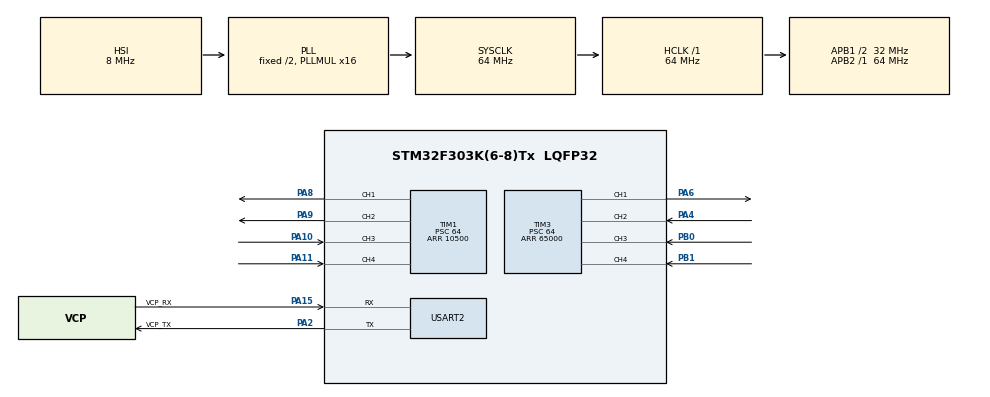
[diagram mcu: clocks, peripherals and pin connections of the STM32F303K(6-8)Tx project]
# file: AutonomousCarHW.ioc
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Dma.Request0=USART2_RX
Dma.Request1=USART2_TX
Dma.USART2_RX.0.Direction=DMA_PERIPH_TO_MEMORY
Dma.USART2_RX.0.Instance=DMA1_Channel6
Dma.USART2_RX.0.MemDataAlignment=DMA_MDATAALIGN_BYTE
Dma.USART2_RX.0.MemInc=DMA_MINC_ENABLE
Dma.USART2_RX.0.Mode=DMA_NORMAL
Dma.USART2_RX.0.PeriphDataAlignment=DMA_PDATAALIGN_BYTE
Dma.USART2_RX.0.PeriphInc=DMA_PINC_DISABLE
Dma.USART2_RX.0.Priority=DMA_PRIORITY_LOW
Dma.USART2_TX.1.Direction=DMA_MEMORY_TO_PERIPH
Dma.USART2_TX.1.Instance=DMA1_Channel7
Dma.USART2_TX.1.MemDataAlignment=DMA_MDATAALIGN_BYTE
Dma.USART2_TX.1.MemInc=DMA_MINC_ENABLE
Dma.USART2_TX.1.Mode=DMA_NORMAL
Dma.USART2_TX.1.PeriphDataAlignment=DMA_PDATAALIGN_BYTE
Dma.USART2_TX.1.PeriphInc=DMA_PINC_DISABLE
Dma.USART2_TX.1.Priority=DMA_PRIORITY_LOW
FREERTOS.BinarySemaphores01=usart2TXAvailable,Static,usart2AvailableControlBlock
FREERTOS.Tasks01=defaultTask,0,512,StartDefaultTask,Default,NULL,Dynamic,NULL,NULL;printingTask,-1,512,printTask,As weak,NULL,Dynamic,NULL,NULL
FREERTOS.configTOTAL_HEAP_SIZE=8192
FREERTOS.configUSE_NEWLIB_REENTRANT=1
Mcu.Family=STM32F3
Mcu.Name=STM32F303K(6-8)Tx
Mcu.Package=LQFP32
NVIC.DMA1_Channel6_IRQn=true\:5\:0\:false\:false\:true\:true\:false\:true\:true
NVIC.DMA1_Channel7_IRQn=true\:5\:0\:false\:false\:true\:true\:false\:true\:true
NVIC.PriorityGroup=NVIC_PRIORITYGROUP_4
NVIC.TIM1_CC_IRQn=true\:5\:0\:false\:false\:true\:true\:true\:true\:true
NVIC.TIM2_IRQn=true\:15\:0\:false\:false\:true\:false\:false\:true\:true
NVIC.TIM3_IRQn=true\:5\:0\:false\:false\:true\:true\:true\:true\:true
NVIC.TimeBase=TIM2_IRQn
NVIC.TimeBaseIP=TIM2
NVIC.USART2_IRQn=true\:5\:0\:false\:false\:true\:true\:true\:true\:true
PA10.Signal=S_TIM1_CH3
PA11.Signal=S_TIM1_CH4
PA13.GPIO_Label=SWDIO
PA13.Mode=Serial_Wire
PA13.Signal=SYS_JTMS-SWDIO
PA14.GPIO_Label=SWCLK
PA14.Mode=Serial_Wire
PA14.Signal=SYS_JTCK-SWCLK
PA15.GPIO_Label=VCP_RX
PA15.Mode=Asynchronous
PA15.Signal=USART2_RX
PA2.GPIO_Label=VCP_TX
PA2.Mode=Asynchronous
PA2.Signal=USART2_TX
PA4.Signal=S_TIM3_CH2
PA6.Signal=S_TIM3_CH1
PA8.Signal=S_TIM1_CH1
PA9.Signal=S_TIM1_CH2
PB0.Signal=S_TIM3_CH3
PB1.Signal=S_TIM3_CH4
PF0\ /\ OSC_IN.GPIO_Label=MCO
PF0\ /\ OSC_IN.Mode=HSE-External-Clock-Source
PF0\ /\ OSC_IN.Signal=RCC_OSC_IN
ProjectManager.HeapSize=0x200
ProjectManager.StackSize=0x400
ProjectManager.TargetToolchain=STM32CubeIDE
RCC.AHBFreq_Value=64000000
RCC.APB1CLKDivider=RCC_HCLK_DIV2
RCC.APB1Freq_Value=32000000
RCC.APB1TimFreq_Value=64000000
RCC.APB2Freq_Value=64000000
RCC.APB2TimFreq_Value=64000000
RCC.CortexFreq_Value=64000000
RCC.HCLKFreq_Value=64000000
RCC.HSE_VALUE=8000000
RCC.HSI_VALUE=8000000
RCC.PLLMUL=RCC_PLL_MUL16
RCC.SYSCLKFreq_VALUE=64000000
RCC.SYSCLKSourceVirtual=RCC_SYSCLKSOURCE_PLLCLK
SH.S_TIM1_CH1.0=TIM1_CH1,PWM Generation1 CH1
SH.S_TIM1_CH2.0=TIM1_CH2,PWM Generation2 CH2
SH.S_TIM1_CH3.0=TIM1_CH3,Input_Capture3_from_TI3
SH.S_TIM1_CH4.0=TIM1_CH4,Input_Capture4_from_TI4
SH.S_TIM3_CH1.0=TIM3_CH1,PWM Generation1 CH1
SH.S_TIM3_CH2.0=TIM3_CH2,Input_Capture2_from_TI2
SH.S_TIM3_CH3.0=TIM3_CH3,Input_Capture3_from_TI3
SH.S_TIM3_CH4.0=TIM3_CH4,Input_Capture4_from_TI4
TIM1.Channel-Input_Capture3_from_TI3=TIM_CHANNEL_3
TIM1.Channel-Input_Capture4_from_TI4=TIM_CHANNEL_4
TIM1.Channel-PWM\ Generation1\ CH1=TIM_CHANNEL_1
TIM1.Channel-PWM\ Generation2\ CH2=TIM_CHANNEL_2
TIM1.ICPolarity_CH3=TIM_INPUTCHANNELPOLARITY_BOTHEDGE
TIM1.ICPolarity_CH4=TIM_INPUTCHANNELPOLARITY_BOTHEDGE
TIM1.Period=10500
TIM1.Prescaler=64
TIM1.Pulse-PWM\ Generation1\ CH1=1500
TIM1.Pulse-PWM\ Generation2\ CH2=1500
TIM3.Channel-Input_Capture2_from_TI2=TIM_CHANNEL_2
TIM3.Channel-Input_Capture3_from_TI3=TIM_CHANNEL_3
TIM3.Channel-Input_Capture4_from_TI4=TIM_CHANNEL_4
TIM3.Channel-PWM\ Generation1\ CH1=TIM_CHANNEL_1
TIM3.ICPolarity_CH2=TIM_INPUTCHANNELPOLARITY_BOTHEDGE
TIM3.ICPolarity_CH3=TIM_INPUTCHANNELPOLARITY_BOTHEDGE
TIM3.ICPolarity_CH4=TIM_INPUTCHANNELPOLARITY_BOTHEDGE
TIM3.Period=65000
TIM3.Prescaler=64
TIM3.Pulse-PWM\ Generation1\ CH1=10
USART2.VirtualMode-Asynchronous=VM_ASYNC
VP_FREERTOS_VS_CMSIS_V1.Mode=CMSIS_V1
VP_SYS_VS_tim2.Mode=TIM2
VP_TIM1_VS_ClockSourceINT.Mode=Internal
VP_TIM3_VS_ClockSourceINT.Mode=Internal
board=NUCLEO-F303K8

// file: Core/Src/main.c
/* USER CODE BEGIN Header */
/**
  ******************************************************************************
  * @file           : main.c
  * @brief          : Main program body
  ******************************************************************************
  * @attention
  *
  * Copyright (c) 2022 STMicroelectronics.
  * All rights reserved.
  *
  * This software is licensed under terms that can be found in the LICENSE file
  * in the root directory of this software component.
  * If no LICENSE file comes with this software, it is provided AS-IS.
  *
  ******************************************************************************
  */
/* USER CODE END Header */
#include "main.h"
#include "cmsis_os.h"

/* USER CODE BEGIN Includes */
#include "print.h"
/* USER CODE END Includes */

 TIM_HandleTypeDef htim1;
TIM_HandleTypeDef htim3;

UART_HandleTypeDef huart2;
DMA_HandleTypeDef hdma_usart2_rx;
DMA_HandleTypeDef hdma_usart2_tx;

osThreadId defaultTaskHandle;
osThreadId printingTaskHandle;
osSemaphoreId usart2TXAvailableHandle;
osStaticSemaphoreDef_t usart2AvailableControlBlock;
/* USER CODE BEGIN PV */
uint16_t rc_steering = 1500;
uint16_t rc_acceleration = 1500;

uint16_t distance_ch1_us = 0;
uint16_t distance_ch2_us = 0;
uint16_t distance_ch3_us = 0;
uint16_t distance_ch1_right_mm = 0;
uint16_t distance_ch2_left_mm = 0;
uint16_t distance_ch3_mm = 0;
uint8_t autonomous = 0;
/* USER CODE END PV */

void SystemClock_Config(void);
static void MX_GPIO_Init(void);
static void MX_TIM1_Init(void);
static void MX_DMA_Init(void);
static void MX_USART2_UART_Init(void);
static void MX_TIM3_Init(void);
void StartDefaultTask(void const * argument);
void printTask(void const * argument);

int main(void)
{

  /* MCU Configuration--------------------------------------------------------*/

  /* Reset of all peripherals, Initializes the Flash interface and the Systick. */
  HAL_Init();

  /* Configure the system clock */
  SystemClock_Config();

  /* Initialize all configured peripherals */
  MX_GPIO_Init();
  MX_TIM1_Init();
  MX_DMA_Init();
  MX_USART2_UART_Init();
  MX_TIM3_Init();

  /* Create the semaphores(s) */
  /* definition and creation of usart2TXAvailable */
  osSemaphoreStaticDef(usart2TXAvailable, &usart2AvailableControlBlock);
  usart2TXAvailableHandle = osSemaphoreCreate(osSemaphore(usart2TXAvailable), 1);

  /* USER CODE BEGIN RTOS_SEMAPHORES */
  osSemaphoreRelease(usart2TXAvailableHandle);
  /* USER CODE END RTOS_SEMAPHORES */

  /* Create the thread(s) */
  /* definition and creation of defaultTask */
  osThreadDef(defaultTask, StartDefaultTask, osPriorityNormal, 0, 512);
  defaultTaskHandle = osThreadCreate(osThread(defaultTask), NULL);

  /* definition and creation of printingTask */
  osThreadDef(printingTask, printTask, osPriorityBelowNormal, 0, 512);
  printingTaskHandle = osThreadCreate(osThread(printingTask), NULL);

  /* Start scheduler */
  osKernelStart();

  /* We should never get here as control is now taken by the scheduler */
  /* Infinite loop */
  while (1)
  {

  }
}

void SystemClock_Config(void)
{
  RCC_OscInitTypeDef RCC_OscInitStruct = {0};
  RCC_ClkInitTypeDef RCC_ClkInitStruct = {0};
  RCC_PeriphCLKInitTypeDef PeriphClkInit = {0};

  /** Initializes the RCC Oscillators according to the specified parameters
  * in the RCC_OscInitTypeDef structure.
  */
  RCC_OscInitStruct.OscillatorType = RCC_OSCILLATORTYPE_HSI;
  RCC_OscInitStruct.HSIState = RCC_HSI_ON;
  RCC_OscInitStruct.HSICalibrationValue = RCC_HSICALIBRATION_DEFAULT;
  RCC_OscInitStruct.PLL.PLLState = RCC_PLL_ON;
  RCC_OscInitStruct.PLL.PLLSource = RCC_PLLSOURCE_HSI;
  RCC_OscInitStruct.PLL.PLLMUL = RCC_PLL_MUL16;
  if (HAL_RCC_OscConfig(&RCC_OscInitStruct) != HAL_OK)
  {
    Error_Handler();
  }

  /** Initializes the CPU, AHB and APB buses clocks
  */
  RCC_ClkInitStruct.ClockType = RCC_CLOCKTYPE_HCLK|RCC_CLOCKTYPE_SYSCLK
                              |RCC_CLOCKTYPE_PCLK1|RCC_CLOCKTYPE_PCLK2;
  RCC_ClkInitStruct.SYSCLKSource = RCC_SYSCLKSOURCE_PLLCLK;
  RCC_ClkInitStruct.AHBCLKDivider = RCC_SYSCLK_DIV1;
  RCC_ClkInitStruct.APB1CLKDivider = RCC_HCLK_DIV2;
  RCC_ClkInitStruct.APB2CLKDivider = RCC_HCLK_DIV1;

  if (HAL_RCC_ClockConfig(&RCC_ClkInitStruct, FLASH_LATENCY_2) != HAL_OK)
  {
    Error_Handler();
  }
  PeriphClkInit.PeriphClockSelection = RCC_PERIPHCLK_TIM1;
  PeriphClkInit.Tim1ClockSelection = RCC_TIM1CLK_HCLK;
  if (HAL_RCCEx_PeriphCLKConfig(&PeriphClkInit) != HAL_OK)
  {
    Error_Handler();
  }
}

static void MX_TIM1_Init(void)
{

  TIM_ClockConfigTypeDef sClockSourceConfig = {0};
  TIM_MasterConfigTypeDef sMasterConfig = {0};
  TIM_OC_InitTypeDef sConfigOC = {0};
  TIM_IC_InitTypeDef sConfigIC = {0};
  TIM_BreakDeadTimeConfigTypeDef sBreakDeadTimeConfig = {0};

  htim1.Instance = TIM1;
  htim1.Init.Prescaler = 64;
  htim1.Init.CounterMode = TIM_COUNTERMODE_UP;
  htim1.Init.Period = 10500;
  htim1.Init.ClockDivision = TIM_CLOCKDIVISION_DIV1;
  htim1.Init.RepetitionCounter = 0;
  htim1.Init.AutoReloadPreload = TIM_AUTORELOAD_PRELOAD_DISABLE;
  if (HAL_TIM_Base_Init(&htim1) != HAL_OK)
  {
    Error_Handler();
  }
  sClockSourceConfig.ClockSource = TIM_CLOCKSOURCE_INTERNAL;
  if (HAL_TIM_ConfigClockSource(&htim1, &sClockSourceConfig) != HAL_OK)
  {
    Error_Handler();
  }
  if (HAL_TIM_PWM_Init(&htim1) != HAL_OK)
  {
    Error_Handler();
  }
  if (HAL_TIM_IC_Init(&htim1) != HAL_OK)
  {
    Error_Handler();
  }
  sMasterConfig.MasterOutputTrigger = TIM_TRGO_RESET;
  sMasterConfig.MasterOutputTrigger2 = TIM_TRGO2_RESET;
  sMasterConfig.MasterSlaveMode = TIM_MASTERSLAVEMODE_DISABLE;
  if (HAL_TIMEx_MasterConfigSynchronization(&htim1, &sMasterConfig) != HAL_OK)
  {
    Error_Handler();
  }
  sConfigOC.OCMode = TIM_OCMODE_PWM1;
  sConfigOC.Pulse = 1500;
  sConfigOC.OCPolarity = TIM_OCPOLARITY_HIGH;
  sConfigOC.OCNPolarity = TIM_OCNPOLARITY_HIGH;
  sConfigOC.OCFastMode = TIM_OCFAST_DISABLE;
  sConfigOC.OCIdleState = TIM_OCIDLESTATE_RESET;
  sConfigOC.OCNIdleState = TIM_OCNIDLESTATE_RESET;
  if (HAL_TIM_PWM_ConfigChannel(&htim1, &sConfigOC, TIM_CHANNEL_1) != HAL_OK)
  {
    Error_Handler();
  }
  if (HAL_TIM_PWM_ConfigChannel(&htim1, &sConfigOC, TIM_CHANNEL_2) != HAL_OK)
  {
    Error_Handler();
  }
  sConfigIC.ICPolarity = TIM_INPUTCHANNELPOLARITY_BOTHEDGE;
  sConfigIC.ICSelection = TIM_ICSELECTION_DIRECTTI;
  sConfigIC.ICPrescaler = TIM_ICPSC_DIV1;
  sConfigIC.ICFilter = 0;
  if (HAL_TIM_IC_ConfigChannel(&htim1, &sConfigIC, TIM_CHANNEL_3) != HAL_OK)
  {
    Error_Handler();
  }
  if (HAL_TIM_IC_ConfigChannel(&htim1, &sConfigIC, TIM_CHANNEL_4) != HAL_OK)
  {
    Error_Handler();
  }
  sBreakDeadTimeConfig.OffStateRunMode = TIM_OSSR_DISABLE;
  sBreakDeadTimeConfig.OffStateIDLEMode = TIM_OSSI_DISABLE;
  sBreakDeadTimeConfig.LockLevel = TIM_LOCKLEVEL_OFF;
  sBreakDeadTimeConfig.DeadTime = 0;
  sBreakDeadTimeConfig.BreakState = TIM_BREAK_DISABLE;
  sBreakDeadTimeConfig.BreakPolarity = TIM_BREAKPOLARITY_HIGH;
  sBreakDeadTimeConfig.BreakFilter = 0;
  sBreakDeadTimeConfig.Break2State = TIM_BREAK2_DISABLE;
  sBreakDeadTimeConfig.Break2Polarity = TIM_BREAK2POLARITY_HIGH;
  sBreakDeadTimeConfig.Break2Filter = 0;
  sBreakDeadTimeConfig.AutomaticOutput = TIM_AUTOMATICOUTPUT_DISABLE;
  if (HAL_TIMEx_ConfigBreakDeadTime(&htim1, &sBreakDeadTimeConfig) != HAL_OK)
  {
    Error_Handler();
  }
  HAL_TIM_MspPostInit(&htim1);

}

static void MX_TIM3_Init(void)
{

  TIM_ClockConfigTypeDef sClockSourceConfig = {0};
  TIM_MasterConfigTypeDef sMasterConfig = {0};
  TIM_OC_InitTypeDef sConfigOC = {0};
  TIM_IC_InitTypeDef sConfigIC = {0};

  htim3.Instance = TIM3;
  htim3.Init.Prescaler = 64;
  htim3.Init.CounterMode = TIM_COUNTERMODE_UP;
  htim3.Init.Period = 65000;
  htim3.Init.ClockDivision = TIM_CLOCKDIVISION_DIV1;
  htim3.Init.AutoReloadPreload = TIM_AUTORELOAD_PRELOAD_DISABLE;
  if (HAL_TIM_Base_Init(&htim3) != HAL_OK)
  {
    Error_Handler();
  }
  sClockSourceConfig.ClockSource = TIM_CLOCKSOURCE_INTERNAL;
  if (HAL_TIM_ConfigClockSource(&htim3, &sClockSourceConfig) != HAL_OK)
  {
    Error_Handler();
  }
  if (HAL_TIM_PWM_Init(&htim3) != HAL_OK)
  {
    Error_Handler();
  }
  if (HAL_TIM_IC_Init(&htim3) != HAL_OK)
  {
    Error_Handler();
  }
  sMasterConfig.MasterOutputTrigger = TIM_TRGO_RESET;
  sMasterConfig.MasterSlaveMode = TIM_MASTERSLAVEMODE_DISABLE;
  if (HAL_TIMEx_MasterConfigSynchronization(&htim3, &sMasterConfig) != HAL_OK)
  {
    Error_Handler();
  }
  sConfigOC.OCMode = TIM_OCMODE_PWM1;
  sConfigOC.Pulse = 10;
  sConfigOC.OCPolarity = TIM_OCPOLARITY_HIGH;
  sConfigOC.OCFastMode = TIM_OCFAST_DISABLE;
  if (HAL_TIM_PWM_ConfigChannel(&htim3, &sConfigOC, TIM_CHANNEL_1) != HAL_OK)
  {
    Error_Handler();
  }
  sConfigIC.ICPolarity = TIM_INPUTCHANNELPOLARITY_BOTHEDGE;
  sConfigIC.ICSelection = TIM_ICSELECTION_DIRECTTI;
  sConfigIC.ICPrescaler = TIM_ICPSC_DIV1;
  sConfigIC.ICFilter = 0;
  if (HAL_TIM_IC_ConfigChannel(&htim3, &sConfigIC, TIM_CHANNEL_2) != HAL_OK)
  {
    Error_Handler();
  }
  if (HAL_TIM_IC_ConfigChannel(&htim3, &sConfigIC, TIM_CHANNEL_3) != HAL_OK)
  {
    Error_Handler();
  }
  if (HAL_TIM_IC_ConfigChannel(&htim3, &sConfigIC, TIM_CHANNEL_4) != HAL_OK)
  {
    Error_Handler();
  }
  HAL_TIM_MspPostInit(&htim3);

}

static void MX_USART2_UART_Init(void)
{

  huart2.Instance = USART2;
  huart2.Init.BaudRate = 38400;
  huart2.Init.WordLength = UART_WORDLENGTH_8B;
  huart2.Init.StopBits = UART_STOPBITS_1;
  huart2.Init.Parity = UART_PARITY_NONE;
  huart2.Init.Mode = UART_MODE_TX_RX;
  huart2.Init.HwFlowCtl = UART_HWCONTROL_NONE;
  huart2.Init.OverSampling = UART_OVERSAMPLING_16;
  huart2.Init.OneBitSampling = UART_ONE_BIT_SAMPLE_DISABLE;
  huart2.AdvancedInit.AdvFeatureInit = UART_ADVFEATURE_NO_INIT;
  if (HAL_UART_Init(&huart2) != HAL_OK)
  {
    Error_Handler();
  }

}

static void MX_DMA_Init(void)
{

  /* DMA controller clock enable */
  __HAL_RCC_DMA1_CLK_ENABLE();

  /* DMA interrupt init */
  /* DMA1_Channel6_IRQn interrupt configuration */
  HAL_NVIC_SetPriority(DMA1_Channel6_IRQn, 5, 0);
  HAL_NVIC_EnableIRQ(DMA1_Channel6_IRQn);
  /* DMA1_Channel7_IRQn interrupt configuration */
  HAL_NVIC_SetPriority(DMA1_Channel7_IRQn, 5, 0);
  HAL_NVIC_EnableIRQ(DMA1_Channel7_IRQn);

}

static void MX_GPIO_Init(void)
{

  /* GPIO Ports Clock Enable */
  __HAL_RCC_GPIOF_CLK_ENABLE();
  __HAL_RCC_GPIOA_CLK_ENABLE();
  __HAL_RCC_GPIOB_CLK_ENABLE();

}

/* USER CODE BEGIN 4 */
void HAL_TIM_IC_CaptureCallback(TIM_HandleTypeDef *htim)
{
	static uint16_t servo_in_ch1_first = 0;
	static uint16_t servo_in_ch1_first_captured = 0;
	static uint16_t servo_in_ch1_second = 0;
	static uint16_t servo_in_ch2_first = 0;
	static uint16_t servo_in_ch2_first_captured = 0;
	static uint16_t servo_in_ch2_second = 0;
	static uint16_t echo_in_ch1_first = 0;
	static uint16_t echo_in_ch1_first_captured = 0;
	static uint16_t echo_in_ch1_second = 0;
	static uint16_t echo_in_ch2_first = 0;
	static uint16_t echo_in_ch2_first_captured = 0;
	static uint16_t echo_in_ch2_second = 0;
	static uint16_t echo_in_ch3_first = 0;
	static uint16_t echo_in_ch3_first_captured = 0;
	static uint16_t echo_in_ch3_second = 0;

	if (htim->Instance == TIM1) {
	    if (htim->Channel == HAL_TIM_ACTIVE_CHANNEL_3)
	    {
	    	if (!servo_in_ch1_first_captured)
			{
				servo_in_ch1_first = htim1.Instance->CCR3;
				if (servo_in_ch1_first < 5000)
				{
					htim1.Instance->CCR3 = 0;
				}
				else
				{
					servo_in_ch1_first_captured = 1;
				}
			}
			else
			{
				servo_in_ch1_second = htim1.Instance->CCR3;
				if (servo_in_ch1_second < 2500)
				{
					servo_in_ch1_second += 10500;
				}
				if (servo_in_ch1_second > servo_in_ch1_first)
				{
					rc_acceleration = servo_in_ch1_second - servo_in_ch1_first;
					if (rc_acceleration < 900) rc_acceleration = 1500;
					else if (rc_acceleration < 1000) rc_acceleration = 1000;
					else if (rc_acceleration > 2100) rc_acceleration = 1500;
					else if (rc_acceleration > 2000) rc_acceleration = 2000;
					//htim1.Instance->CCR2 = rc_acceleration;
					if ((rc_acceleration > 1800) || (rc_acceleration < 1200))
					{
						autonomous = 0;
					}
					htim1.Instance->CCR3 = 0;
					servo_in_ch1_first_captured = 0;
				}
				else
				{
					servo_in_ch1_first = servo_in_ch1_second;
				}
			}
	    }
	    if (htim->Channel == HAL_TIM_ACTIVE_CHANNEL_4)
		{
			if (!servo_in_ch2_first_captured)
			{
				servo_in_ch2_first = htim1.Instance->CCR4;
				if (servo_in_ch2_first < 5000)
				{
					htim1.Instance->CCR4 = 0;
				}
				else
				{
					servo_in_ch2_first_captured = 1;
				}
			}
			else
			{
				servo_in_ch2_second = htim1.Instance->CCR4;
				if (servo_in_ch2_second < 2500)
				{
					servo_in_ch2_second += 10500;
				}
				if (servo_in_ch2_second > servo_in_ch2_first)
				{
					rc_steering = servo_in_ch2_second - servo_in_ch2_first;
					if (rc_steering < 900) rc_steering = 1500;
					else if (rc_steering < 1000) rc_steering = 1000;
					else if (rc_steering > 2000) rc_steering = 2000;
					else if (rc_steering > 2100) rc_steering = 1500;
					//htim1.Instance->CCR1 = rc_steering;
					if ((rc_steering > 1800) || (rc_steering < 1200))
					{
						autonomous = 1;
					}
					htim1.Instance->CCR4 = 0;
					servo_in_ch2_first_captured = 0;
				}
				else
				{
					servo_in_ch2_first = servo_in_ch2_second;
				}
			}
		}
	}
	// Read ultrasonic range sensors
	if (htim->Instance == TIM3) {
		if (htim->Channel == HAL_TIM_ACTIVE_CHANNEL_2)
		{
			if (!echo_in_ch1_first_captured)
			{
				echo_in_ch1_first = htim3.Instance->CCR2;
				echo_in_ch1_first_captured = 1;
			}
			else
			{
				echo_in_ch1_second = htim3.Instance->CCR2;
				if (echo_in_ch1_second > echo_in_ch1_first)
				{
					distance_ch1_us = echo_in_ch1_second - echo_in_ch1_first;
					htim3.Instance->CCR2 = 0;
					echo_in_ch1_first_captured = 0;
					distance_ch1_right_mm = (uint16_t)(((uint32_t)distance_ch1_us * 10)/58);
				}
				else
				{
					echo_in_ch1_first = echo_in_ch1_second;
				}
			}
		}
		if (htim->Channel == HAL_TIM_ACTIVE_CHANNEL_3)
		{
			if (!echo_in_ch2_first_captured)
			{
				echo_in_ch2_first = htim3.Instance->CCR3;
				echo_in_ch2_first_captured = 1;
			}
			else
			{
				echo_in_ch2_second = htim3.Instance->CCR3;
				if (echo_in_ch2_second > echo_in_ch2_first)
				{
					distance_ch2_us = echo_in_ch2_second - echo_in_ch2_first;
					htim3.Instance->CCR3 = 0;
					echo_in_ch2_first_captured = 0;
					distance_ch2_left_mm = (uint16_t)(((uint32_t)distance_ch2_us * 10)/58);
				}
				else
				{
					echo_in_ch2_first = echo_in_ch2_second;
				}
			}
		}
		if (htim->Channel == HAL_TIM_ACTIVE_CHANNEL_4)
		{
			if (!echo_in_ch3_first_captured)
			{
				echo_in_ch3_first = htim3.Instance->CCR4;
				echo_in_ch3_first_captured = 1;
			}
			else
			{
				echo_in_ch3_second = htim3.Instance->CCR4;
				if (echo_in_ch3_second > echo_in_ch3_first)
				{
					distance_ch3_us = echo_in_ch3_second - echo_in_ch3_first;
					htim3.Instance->CCR4 = 0;
					echo_in_ch3_first_captured = 0;
					distance_ch3_mm = (uint16_t)((uint32_t)distance_ch3_us * 10)/58;
				}
				else
				{
					echo_in_ch3_first = echo_in_ch3_second;
				}
			}
		}
	}
}
/* USER CODE END 4 */

void StartDefaultTask(void const * argument)
{
  /* USER CODE BEGIN 5 */
	uint16_t steering = 1560;
	uint16_t acceleration = 1500;
	int16_t steering_direction = 10;
	int16_t acceleration_direction = 1;

	osDelay(100);

	/* Start Servo control for accelerator and steering */
	HAL_TIM_PWM_Start(&htim1, TIM_CHANNEL_1);
	HAL_TIM_PWM_Start(&htim1, TIM_CHANNEL_2);

	/* Start RC reading */
	HAL_TIM_IC_Start_IT(&htim1, TIM_CHANNEL_3);
	HAL_TIM_IC_Start_IT(&htim1, TIM_CHANNEL_4);

	/* Start Ultrasonic measurements */
	HAL_TIM_PWM_Start(&htim3, TIM_CHANNEL_1); // Trigger
	HAL_TIM_IC_Start_IT(&htim3, TIM_CHANNEL_2); // Echo 1
	HAL_TIM_IC_Start_IT(&htim3, TIM_CHANNEL_3); // Echo 2
	HAL_TIM_IC_Start_IT(&htim3, TIM_CHANNEL_4); // Echo 3
  /* Infinite loop */
  for(;;)
  {
      osDelay(100);
      print("Distance right: %d mm, left: %d mm\n", distance_ch1_right_mm, distance_ch2_left_mm);
      if (autonomous)
      {
		  if ((distance_ch1_right_mm < 200) && (distance_ch2_left_mm > 200))
		  {
			  htim1.Instance->CCR1 = 1000;
			  htim1.Instance->CCR2 = 1570;
		  }
		  else if ((distance_ch1_right_mm > 200) && (distance_ch2_left_mm < 200))
		  {
			  htim1.Instance->CCR1 = 2000;
			  htim1.Instance->CCR2 = 1570;
		  }
		  else if ((distance_ch1_right_mm < 200) && (distance_ch2_left_mm < 200))
		  {
			  htim1.Instance->CCR1 = 1000;
			  htim1.Instance->CCR2 = 1500;
			  osDelay(100);
			  htim1.Instance->CCR2 = 1400;
			  osDelay(800);
		  }
		  else
		  {
			  htim1.Instance->CCR1 = 1550;
			  htim1.Instance->CCR2 = 1570;
		  }
      }
      else
      {
    	  htim1.Instance->CCR1 = 1550;
    	  htim1.Instance->CCR2 = 1500;
      }
  }
  /* USER CODE END 5 */
}

__weak void printTask(void const * argument)
{
  for(;;)
  {
    osDelay(1);
  }
}

void HAL_TIM_PeriodElapsedCallback(TIM_HandleTypeDef *htim)
{
  if (htim->Instance == TIM2) {
    HAL_IncTick();
  }
}

void Error_Handler(void)
{
  __disable_irq();
  while (1)
  {
  }
}
